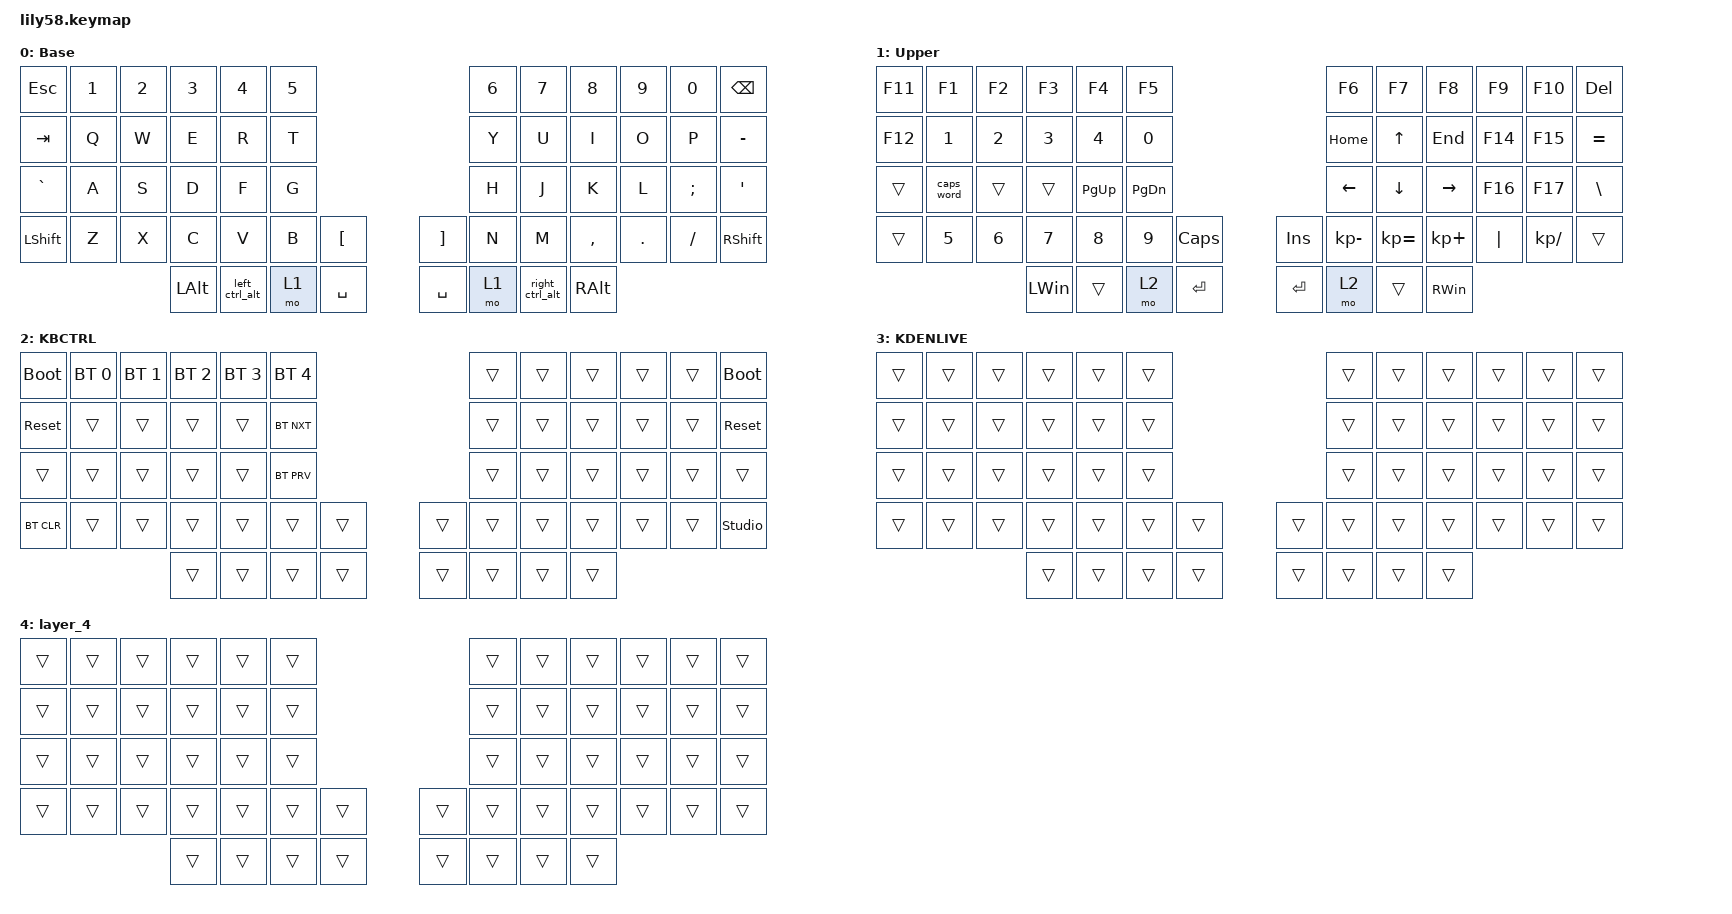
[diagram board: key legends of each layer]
/*
 * Copyright (c) 2020 The ZMK Contributors
 *
 * SPDX-License-Identifier: MIT
 */

#include <behaviors.dtsi>
#include <dt-bindings/zmk/bt.h>
#include <dt-bindings/zmk/keys.h>

/ {
    behaviors {
        left_ctrl_alt: left_ctrl_alt {
            compatible = "zmk,behavior-tap-dance";
            label = "LEFT_CTRL_ALT";
            #binding-cells = <0>;
            bindings = <&kp LCTRL>, <&kp LALT>;

            tapping-term-ms = <300>;
        };

        right_ctrl_alt: right_ctrl_alt {
            compatible = "zmk,behavior-tap-dance";
            label = "RIGHT_CTRL_ALT";
            #binding-cells = <0>;
            bindings = <&kp RCTRL>, <&kp RIGHT_ALT>;

            tapping-term-ms = <300>;
        };
    };

    combos {
        compatible = "zmk,combos";

        ju-enter {
            bindings = <&kp RET>;
            key-positions = <31 19>;
            layers = <1>;
        };

        fr-enter {
            bindings = <&kp RET>;
            key-positions = <28 16>;
            layers = <1>;
        };
    };

    keymap {
        compatible = "zmk,keymap";

        default_layer {
            // ------------------------------------------------------------------------------------------------------------
            // |  ESC  |  1  |  2  |  3   |  4   |  5   |                   |  6   |  7    |  8    |  9   |   0   |   `   |
            // |  TAB  |  Q  |  W  |  E   |  R   |  T   |                   |  Y   |  U    |  I    |  O   |   P   |   -   |
            // |  CTRL |  A  |  S  |  D   |  F   |  G   |                   |  H   |  J    |  K    |  L   |   ;   |   '   |
            // | SHIFT |  Z  |  X  |  C   |  V   |  B   |   "["  |  |  "]"  |  N   |  M    |  ,    |  .   |   /   | SHIFT |
            //                     | ALT  | GUI  | LOWER|  SPACE |  | ENTER | RAISE| BSPC  | GUI   |

            display-name = "Base";
            bindings = <
&kp ESC    &kp N1  &kp N2  &kp N3    &kp N4          &kp N5                                         &kp N6  &kp N7           &kp N8     &kp N9   &kp N0    &kp BACKSPACE
&kp TAB    &kp Q   &kp W   &kp E     &kp R           &kp T                                          &kp Y   &kp U            &kp I      &kp O    &kp P     &kp MINUS
&kp GRAVE  &kp A   &kp S   &kp D     &kp F           &kp G                                          &kp H   &kp J            &kp K      &kp L    &kp SEMI  &kp APOS
&kp LSHFT  &kp Z   &kp X   &kp C     &kp V           &kp B   &kp LEFT_BRACKET    &kp RIGHT_BRACKET  &kp N   &kp M            &kp COMMA  &kp DOT  &kp FSLH  &kp RSHIFT
                           &kp LALT  &left_ctrl_alt  &mo 1   &kp SPACE           &kp SPACE          &mo 1   &right_ctrl_alt  &kp RALT
            >;
        };

        upper {
            // ------------------------------------------------------------------------------------------------------------
            // | BTCLR | BT1 | BT2 |  BT3 |  BT4 |  BT5 |                   |      |       |       |      |       |       |
            // |  F1   |  F2 |  F3 |  F4  |  F5  |  F6  |                   |  F7  |  F8   |  F9   |  F10 |  F11  |  F12  |
            // |   `   |  !  |  @  |  #   |  $   |  %   |                   |  ^   |  &    |  *    |  (   |   )   |   ~   |
            // |       |     |     |      |      |      |        |  |       |      |  _    |  +    |  {   |   }   |  "|"  |
            //                     |      |      |      |        |  |       |      |       |       |

            display-name = "Upper";
            bindings = <
&kp F11  &kp F1        &kp F2        &kp F3        &kp F4        &kp F5                                 &kp F6        &kp F7        &kp F8       &kp F9    &kp F10       &kp DEL
&kp F12  &kp NUMBER_1  &kp NUMBER_2  &kp NUMBER_3  &kp NUMBER_4  &kp NUMBER_0                           &kp HOME      &kp UP        &kp END      &kp F14   &kp F15       &kp EQUAL
&trans   &caps_word    &trans        &trans        &kp PG_UP     &kp PG_DN                              &kp LEFT      &kp DOWN      &kp RIGHT    &kp F16   &kp F17       &kp BACKSLASH
&trans   &kp NUMBER_5  &kp NUMBER_6  &kp NUMBER_7  &kp NUMBER_8  &kp NUMBER_9  &kp CAPSLOCK    &kp INS  &kp KP_MINUS  &kp KP_EQUAL  &kp KP_PLUS  &kp PIPE  &kp KP_SLASH  &trans
                                     &kp LWIN      &trans        &mo 2         &kp RET         &kp RET  &mo 2         &trans        &kp RWIN
            >;
        };

        kb_control_layer {
            display-name = "KBCTRL";
            bindings = <
&bootloader  &bt BT_SEL 0  &bt BT_SEL 1  &bt BT_SEL 2  &bt BT_SEL 3  &bt BT_SEL 4                    &trans  &trans  &trans  &trans  &trans  &bootloader
&sys_reset   &trans        &trans        &trans        &trans        &bt BT_NXT                      &trans  &trans  &trans  &trans  &trans  &sys_reset
&trans       &trans        &trans        &trans        &trans        &bt BT_PRV                      &trans  &trans  &trans  &trans  &trans  &trans
&bt BT_CLR   &trans        &trans        &trans        &trans        &trans        &trans    &trans  &trans  &trans  &trans  &trans  &trans  &studio_unlock
                                         &trans        &trans        &trans        &trans    &trans  &trans  &trans  &trans
            >;
        };

        KDENLIVE {
            bindings = <
&trans  &trans  &trans  &trans  &trans  &trans                    &trans  &trans  &trans  &trans  &trans  &trans
&trans  &trans  &trans  &trans  &trans  &trans                    &trans  &trans  &trans  &trans  &trans  &trans
&trans  &trans  &trans  &trans  &trans  &trans                    &trans  &trans  &trans  &trans  &trans  &trans
&trans  &trans  &trans  &trans  &trans  &trans  &trans    &trans  &trans  &trans  &trans  &trans  &trans  &trans
                        &trans  &trans  &trans  &trans    &trans  &trans  &trans  &trans
            >;
        };

        layer_4 {
            bindings = <
&trans  &trans  &trans  &trans  &trans  &trans                    &trans  &trans  &trans  &trans  &trans  &trans
&trans  &trans  &trans  &trans  &trans  &trans                    &trans  &trans  &trans  &trans  &trans  &trans
&trans  &trans  &trans  &trans  &trans  &trans                    &trans  &trans  &trans  &trans  &trans  &trans
&trans  &trans  &trans  &trans  &trans  &trans  &trans    &trans  &trans  &trans  &trans  &trans  &trans  &trans
                        &trans  &trans  &trans  &trans    &trans  &trans  &trans  &trans
            >;
        };
    };

    conditional_layers { compatible = "zmk,conditional-layers"; };
};
